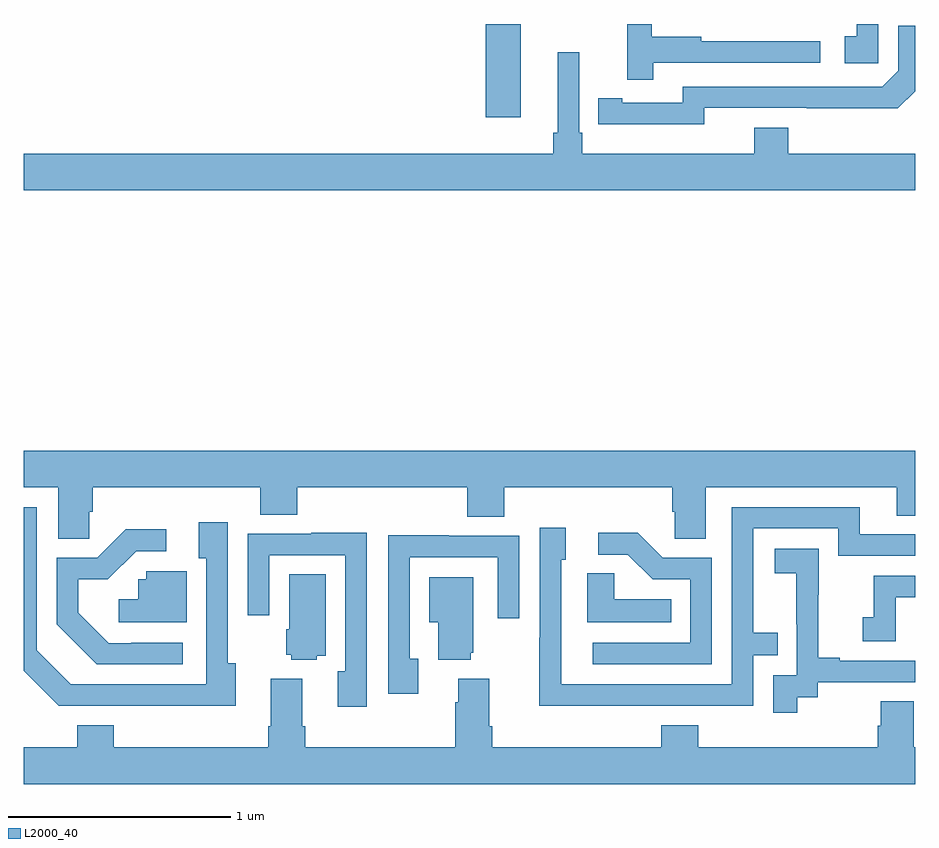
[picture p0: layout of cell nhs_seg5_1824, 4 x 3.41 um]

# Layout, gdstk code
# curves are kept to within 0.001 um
import gdstk
lib = gdstk.Library(unit=1e-6, precision=1e-09)
def R(c, l, rs):  # rectangles x0, y0, x1, y1
    for r in rs: c.add(gdstk.rectangle(r[:2], r[2:], *l))
def P(c, l, *ps):  # polygons
    for p in ps: c.add(gdstk.Polygon(p, *l))
L2000_40 = (2000, 40)

nhs_seg5_1824 = lib.new_cell('nhs_seg5_1824')
R(nhs_seg5_1824, L2000_40, [(221.072,898.38,221.23,898.799)])
P(nhs_seg5_1824, L2000_40, [(221.825,898.626),(222.574,898.626),(222.574,898.722),(222.041,898.722),(222.041,898.742),(221.818,898.742),(221.818,898.799),(221.708,898.799),(221.708,898.548),(221.825,898.548)],
  [(222.834,898.799),(222.737,898.799),(222.737,898.743),(222.684,898.743),(222.684,898.623),(222.834,898.623)],
  [(222.054,898.422),(222.922,898.421),(223,898.498),(223,898.791),(222.924,898.791),(222.924,898.59),(222.852,898.518),(221.958,898.518),(221.958,898.446),(221.686,898.446),(221.686,898.466),(221.578,898.466),(221.578,898.35),(222.054,898.349)],
  [(223,898.216),(222.431,898.216),(222.431,898.333),(222.278,898.333),(222.278,898.216),(221.507,898.216),(221.507,898.312),(221.493,898.312),(221.493,898.672),(221.396,898.672),(221.396,898.312),(221.377,898.312),(221.377,898.216),(219,898.216),(219,898.052),(223,898.052)],
  [(219.293,896.61),(219.308,896.61),(219.308,896.72),(220.061,896.72),(220.061,896.596),(220.226,896.596),(220.226,896.72),(220.991,896.72),(220.991,896.587),(221.156,896.587),(221.156,896.72),(221.909,896.72),(221.909,896.611),(221.922,896.611),(221.922,896.488),(222.061,896.488),(222.061,896.72),(222.917,896.72),(222.917,896.593),(223,896.593),(223,896.884),(219,896.884),(219,896.72),(219.155,896.72),(219.155,896.488),(219.293,896.488)],
  [(221.777,895.74),(222.273,895.74),(222.273,895.965),(222.383,895.965),(222.383,896.066),(222.273,896.066),(222.273,896.535),(222.654,896.535),(222.654,896.412),(223,896.412),(223,896.508),(222.751,896.508),(222.751,896.631),(222.177,896.631),(222.177,895.836),(221.412,895.836),(221.412,896.394),(221.431,896.394),(221.431,896.539),(221.316,896.539),(221.316,896.045),(221.314,896.045),(221.314,895.739),(221.777,895.739)],
  [(219.952,895.93),(219.915,895.93),(219.915,896.563),(219.785,896.563),(219.785,896.402),(219.819,896.402),(219.819,895.836),(219.21,895.836),(219.057,895.989),(219.057,896.631),(219,896.631),(219,895.896),(219.156,895.74),(219.952,895.739)],
  [(219.712,896.022),(219.481,896.022),(219.481,896.019),(219.381,896.019),(219.244,896.156),(219.244,896.306),(219.377,896.306),(219.504,896.433),(219.64,896.433),(219.64,896.531),(219.458,896.531),(219.33,896.403),(219.147,896.403),(219.147,896.105),(219.326,895.926),(219.712,895.926)],
  [(222.087,896.403),(221.868,896.403),(221.755,896.516),(221.577,896.516),(221.577,896.418),(221.711,896.418),(221.822,896.307),(221.991,896.307),(221.991,896.022),(221.553,896.022),(221.553,895.926),(222.087,895.926)],
  [(220.539,896.515),(220.289,896.515),(220.289,896.511),(220.005,896.511),(220.005,896.145),(220.101,896.145),(220.101,896.415),(220.443,896.415),(220.443,895.895),(220.409,895.895),(220.409,895.734),(220.539,895.734)],
  [(220.771,895.95),(220.731,895.95),(220.731,896.406),(221.127,896.406),(221.127,896.133),(221.223,896.133),(221.223,896.502),(220.907,896.502),(220.907,896.504),(220.635,896.504),(220.635,895.794),(220.771,895.794)],
  [(222.472,895.777),(222.564,895.777),(222.564,895.845),(223,895.845),(223,895.941),(222.661,895.941),(222.661,895.954),(222.566,895.954),(222.566,896.237),(222.567,896.237),(222.567,896.443),(222.369,896.443),(222.369,896.333),(222.467,896.333),(222.467,896.105),(222.468,896.105),(222.468,895.875),(222.363,895.875),(222.363,895.707),(222.472,895.707)],
  [(219.73,896.343),(219.549,896.343),(219.549,896.307),(219.513,896.307),(219.513,896.218),(219.426,896.218),(219.426,896.115),(219.73,896.115)],
  [(221.906,896.218),(221.649,896.218),(221.649,896.333),(221.528,896.333),(221.528,896.114),(221.906,896.114)],
  [(220.314,895.964),(220.354,895.964),(220.354,896.33),(220.19,896.33),(220.19,896.082),(220.178,896.082),(220.178,895.968),(220.2,895.968),(220.2,895.946),(220.314,895.946)],
  [(222.912,896.226),(223,896.226),(223,896.322),(222.814,896.322),(222.814,896.137),(222.765,896.137),(222.765,896.028),(222.912,896.028)],
  [(221.006,895.977),(221.017,895.977),(221.017,896.317),(220.82,896.317),(220.82,896.114),(220.859,896.114),(220.859,895.946),(221.006,895.946)],
  [(223,895.552),(222.993,895.552),(222.993,895.76),(222.845,895.76),(222.845,895.65),(222.833,895.65),(222.833,895.552),(222.026,895.552),(222.026,895.651),(221.861,895.651),(221.861,895.552),(221.102,895.552),(221.102,895.648),(221.089,895.648),(221.089,895.861),(220.949,895.861),(220.949,895.754),(220.937,895.754),(220.937,895.552),(220.262,895.552),(220.262,895.648),(220.249,895.648),(220.249,895.861),(220.109,895.861),(220.109,895.648),(220.097,895.648),(220.097,895.552),(219.404,895.552),(219.404,895.651),(219.239,895.651),(219.239,895.552),(219,895.552),(219,895.388),(223,895.388)])

lib.write_gds('nhs_seg5_1824.gds')
